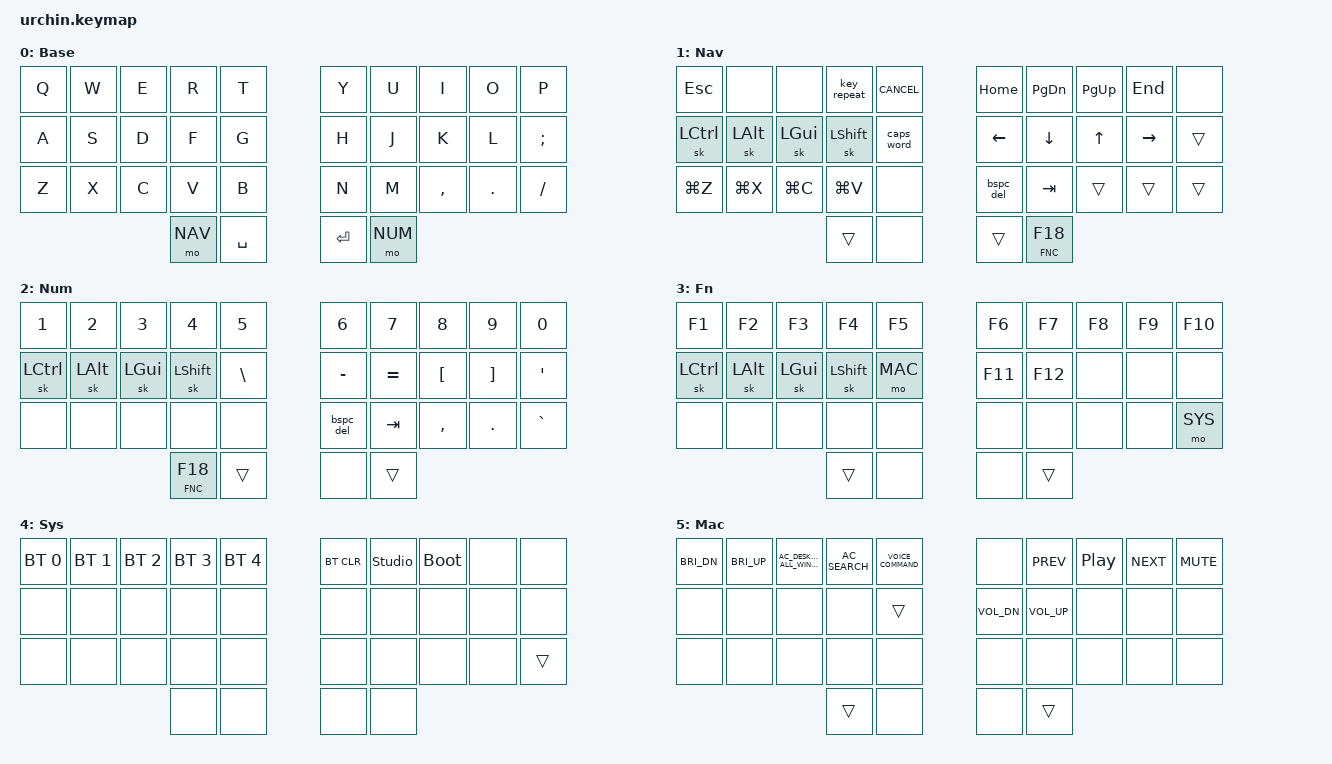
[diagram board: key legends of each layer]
/*
 * 34-key layout ported from the X.Tips V4s QMK/Vial keymap.
 * Callum-style oneshot mods -> sticky keys with quick-release.
 */

#include <behaviors.dtsi>
#include <dt-bindings/zmk/keys.h>
#include <dt-bindings/zmk/bt.h>

#define BASE 0
#define NAV  1
#define NUM  2
#define FNC  3
#define SYS  4
#define MAC  5

// The key the lang key taps out, bound in macOS' Keyboard settings to "Select
// the previous input source". A lone key with no mods: ZMK releases a chorded
// shortcut like Ctrl+Opt+Space in one report, which macOS' switcher mishandles.
#define LANG_SWITCH F18

&caps_word {
    // Match QMK's caps word, which also survives Backspace and Delete.
    continue-list = <UNDERSCORE MINUS BACKSPACE DELETE>;
};

&sk {
    // Stackable mods that are consumed by the first following keypress.
    ignore-modifiers;
    quick-release;
    // The QMK original never timed out; 5s is the safety net backing up the
    // K_CANCEL panic key that replaces its cancel-on-layer-key.
    release-after-ms = <5000>;
};

/ {
    behaviors {
        // Hold: FNC layer, tap: input language switch. Sits on the opposite
        // thumb key of NAV and NUM, so FNC is a both-thumbs chord.
        lng: lang_layer_tap {
            compatible = "zmk,behavior-hold-tap";
            #binding-cells = <2>;
            flavor = "hold-preferred";
            tapping-term-ms = <200>;
            bindings = <&mo>, <&kp>;
        };

        // Shift+Backspace sends a bare Delete; Delete is on no layer.
        bspc_del: backspace_delete {
            compatible = "zmk,behavior-mod-morph";
            #binding-cells = <0>;
            bindings = <&kp BSPC>, <&kp DEL>;
            mods = <(MOD_LSFT)>;
        };
    };

    keymap {
        compatible = "zmk,keymap";

        base_layer {
            display-name = "Base";
            bindings = <
            &kp Q &kp W &kp E &kp R &kp T                            &kp Y &kp U &kp I     &kp O   &kp P
            &kp A &kp S &kp D &kp F &kp G                            &kp H &kp J &kp K     &kp L   &kp SEMI
            &kp Z &kp X &kp C &kp V &kp B                            &kp N &kp M &kp COMMA &kp DOT &kp FSLH
                              &mo NAV &kp SPACE            &kp RET &mo NUM
            >;
        };

        nav_layer {
            display-name = "Nav";
            bindings = <
            &kp ESC   &none     &none    &key_repeat &kp K_CANCEL     &kp HOME  &kp PG_DN &kp PG_UP &kp END   &none
            &sk LCTRL &sk LALT  &sk LGUI &sk LSHIFT  &caps_word       &kp LEFT  &kp DOWN  &kp UP    &kp RIGHT &trans
            &kp LG(Z) &kp LG(X) &kp LG(C) &kp LG(V)  &none            &bspc_del &kp TAB   &trans    &trans    &trans
                                &trans &none                &trans &lng FNC LANG_SWITCH
            >;
        };

        num_layer {
            display-name = "Num";
            bindings = <
            &kp N1    &kp N2   &kp N3   &kp N4     &kp N5             &kp N6    &kp N7    &kp N8   &kp N9   &kp N0
            &sk LCTRL &sk LALT &sk LGUI &sk LSHIFT &kp BSLH           &kp MINUS &kp EQUAL &kp LBKT &kp RBKT &kp SQT
            &none     &none    &none    &none      &none              &bspc_del &kp TAB   &kp COMMA &kp DOT &kp GRAVE
                               &lng FNC LANG_SWITCH &trans            &none &trans
            >;
        };

        // Function & media, reached by holding both outer thumb keys.
        // The bottom-right key opens the SYS layer on top while held.
        fnc_layer {
            display-name = "Fn";
            bindings = <
            &kp F1       &kp F2       &kp F3       &kp F4       &kp F5              &kp F6     &kp F7         &kp F8    &kp F9       &kp F10
            &sk LCTRL    &sk LALT     &sk LGUI     &sk LSHIFT   &mo MAC             &kp F11    &kp F12        &none     &none        &none
            &none        &none        &none        &none        &none               &none      &none          &none     &none        &mo SYS
                                      &trans &none                &none &trans
            >;
        };

        // Bluetooth and bootloader, deliberately three keys deep
        // (NAV + lng + '/') so a slip on the Fn layer can't reach them.
        // Momentary: release '/' and it's gone. The right pinky holds '/',
        // so the right-hand keys sit by the inner edge.
        sys_layer {
            display-name = "Sys";
            bindings = <
            &bt BT_SEL 0 &bt BT_SEL 1 &bt BT_SEL 2 &bt BT_SEL 3 &bt BT_SEL 4        &bt BT_CLR &studio_unlock &bootloader &none &none
            &none        &none        &none        &none        &none               &none      &none          &none       &none &none
            &none        &none        &none        &none        &none               &none      &none          &none       &none &trans
                                      &none &none                &none &none
            >;
        };

        // Modern Apple top-row controls, entered by holding G on Fn.
        mac_layer {
            display-name = "Mac";
            bindings = <
            &kp C_BRI_DN &kp C_BRI_UP &kp C_AC_DESKTOP_SHOW_ALL_WINDOWS &kp C_AC_SEARCH &kp C_VOICE_COMMAND   &none &kp C_PREV &kp C_PP &kp C_NEXT &kp C_MUTE
            &none        &none        &none                             &none         &trans            &kp C_VOL_DN &kp C_VOL_UP &none &none &none
            &none        &none        &none                             &none         &none             &none &none &none &none &none
                                      &trans &none                &none &trans
            >;
        };
    };
};
